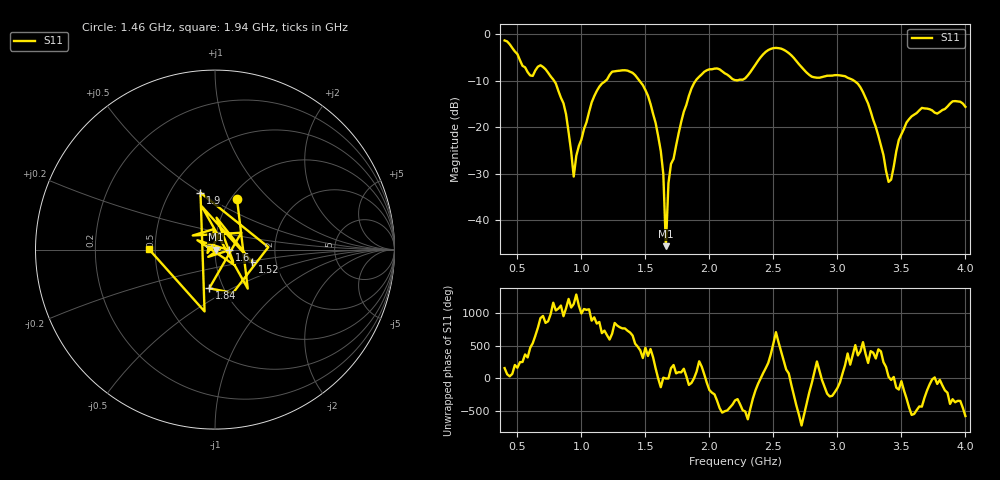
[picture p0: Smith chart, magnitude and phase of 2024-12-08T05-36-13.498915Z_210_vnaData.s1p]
!Created with skrf (http://scikit-rf.org).
# Hz S RI R 50.0
!freq ReS11 ImS11
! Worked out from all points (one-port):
!   181 points, 400 MHz to 4 GHz, reference 50 ohm
!   lowest |S11| = -45.6 dB at 1.66 GHz (marker M1), VSWR 1.01, Z = 50.5 - j0.00698 ohm
!   |S11| at or under -10 dB: 786.3 MHz to 1.189 GHz (402.9 MHz wide, 40.8 % of centre); 1.454 GHz to 1.893 GHz (439.3 MHz wide, 26.3 % of centre); 3.13 GHz to end of sweep
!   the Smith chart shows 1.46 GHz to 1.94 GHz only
!   S11 on the Smith chart (normalised r, x): 1.46 GHz: 1.07, +0.67; 1.52 GHz: 1.50, -0.22; 1.6 GHz: 1.17, -0.01; 1.84 GHz: 0.86, -0.39; 1.9 GHz: 0.70, +0.50; 1.94 GHz: 0.46, +0.01
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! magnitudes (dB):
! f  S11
! 400 MHz  -1.3
! 600 MHz  -8.9
! 720 MHz  -7.5
! 860 MHz  -14.9
! 940 MHz  -30.6
! 960 MHz  -26.2
! 1.1 GHz  -13.3
! 1.3 GHz  -7.8
! 1.46 GHz  -10.2
! 1.52 GHz  -13.2
! 1.6 GHz  -22.0
! 1.64 GHz  -30.1
! 1.66 GHz  -45.6
! 1.68 GHz  -32.1
! 1.76 GHz  -21.3
! 1.84 GHz  -13.2
! 1.9 GHz  -9.7
! 1.94 GHz  -8.6
! 2.2 GHz  -9.9
! 2.48 GHz  -3.1
! 2.66 GHz  -5.1
! 2.8 GHz  -9.1
! 3.1 GHz  -9.6
! 3.24 GHz  -14.9
! 3.4 GHz  -31.8
! 3.48 GHz  -22.7
! 3.56 GHz  -18.3
! 4 GHz  -15.6
